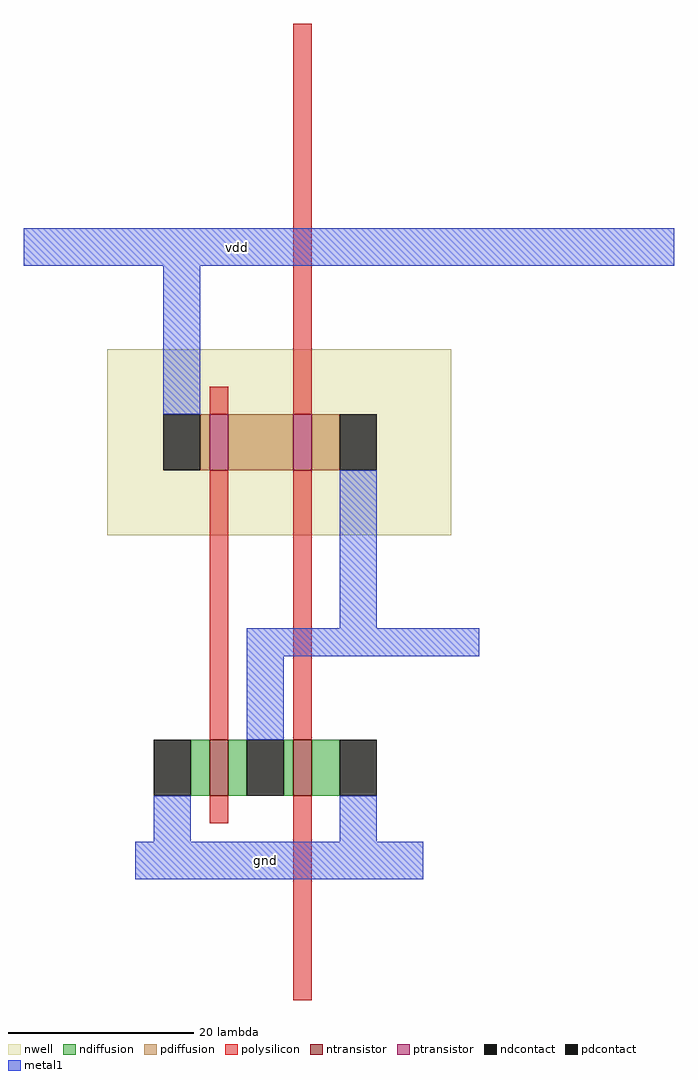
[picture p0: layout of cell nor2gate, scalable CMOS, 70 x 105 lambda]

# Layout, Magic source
magic
tech scmos
<< nwell >>
rect -12 6 25 26
<< ntransistor >>
rect -1 -22 1 -16
rect 8 -22 10 -16
<< ptransistor >>
rect -1 13 1 19
rect 8 13 10 19
<< ndiffusion >>
rect -3 -22 -1 -16
rect 1 -22 3 -16
rect 7 -22 8 -16
rect 10 -22 13 -16
<< pdiffusion >>
rect -2 13 -1 19
rect 1 13 8 19
rect 10 13 13 19
<< ndcontact >>
rect -7 -22 -3 -16
rect 3 -22 7 -16
rect 13 -22 17 -16
<< pdcontact >>
rect -6 13 -2 19
rect 13 13 17 19
<< polysilicon >>
rect -1 19 1 22
rect 8 19 10 61
rect -1 -16 1 13
rect 8 -16 10 13
rect -1 -25 1 -22
rect 8 -44 10 -22
<< metal1 >>
rect -21 35 49 39
rect -6 19 -2 35
rect 13 -4 17 13
rect 3 -7 28 -4
rect 3 -16 7 -7
rect -7 -27 -3 -22
rect 13 -27 17 -22
rect -9 -31 22 -27
<< labels >>
rlabel metal1 5 -29 5 -29 1 gnd
rlabel metal1 2 37 2 37 1 vdd
<< end >>
